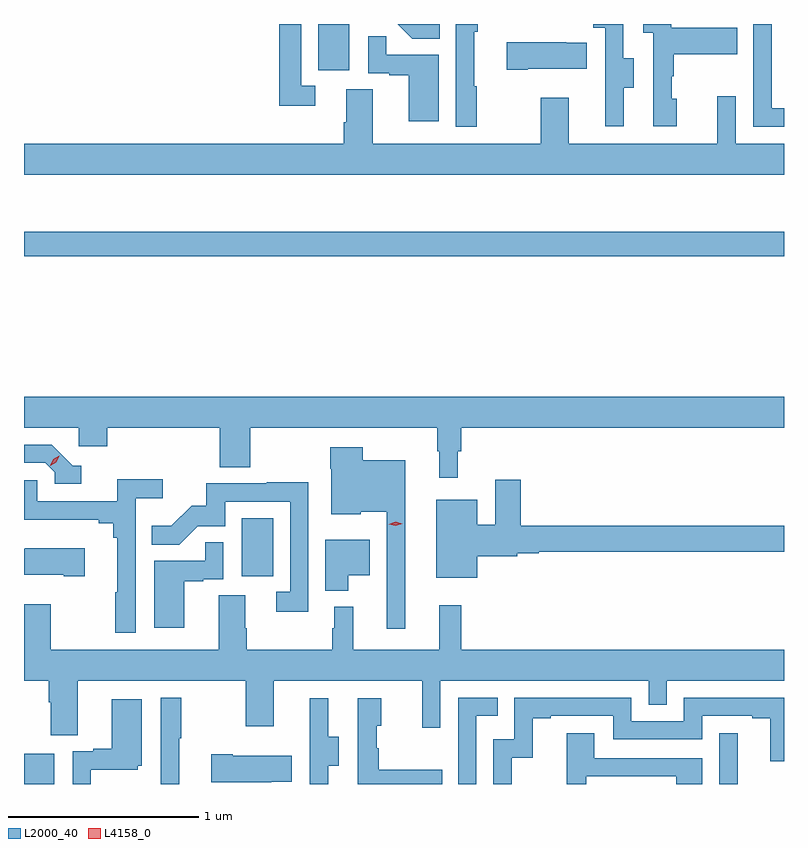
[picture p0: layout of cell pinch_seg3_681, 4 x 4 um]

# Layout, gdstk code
import gdstk
lib = gdstk.Library(unit=1e-6, precision=1e-09)
def R(c, l, rs):  # rectangles x0, y0, x1, y1
    for r in rs: c.add(gdstk.rectangle(r[:2], r[2:], *l))
def P(c, l, *ps):  # polygons
    for p in ps: c.add(gdstk.Polygon(p, *l))
L2000_40 = (2000, 40)
L4158_0 = (4158, 0)

pinch_seg3_681 = lib.new_cell('pinch_seg3_681')
R(pinch_seg3_681, L2000_40, [(1126.807,683.057,1126.966,683.215), (1130.466,683.057,1130.563,683.323), (1127.954,684.15,1128.118,684.457), (1126.807,685.834,1130.807,685.963), (1128.356,686.814,1128.52,687.057)])
P(pinch_seg3_681, L2000_40, [(1130.807,686.613),(1130.742,686.613),(1130.742,687.057),(1130.646,687.057),(1130.646,686.517),(1130.807,686.517)],
  [(1129.963,686.722),(1130.017,686.722),(1130.017,686.877),(1129.962,686.877),(1129.962,687.057),(1129.803,687.057),(1129.803,687.037),(1129.866,687.037),(1129.866,686.733),(1129.865,686.733),(1129.865,686.52),(1129.963,686.52)],
  [(1130.242,686.664),(1130.217,686.664),(1130.217,686.783),(1130.227,686.783),(1130.227,686.897),(1130.561,686.897),(1130.561,687.037),(1130.214,687.037),(1130.214,687.057),(1130.067,687.057),(1130.067,687.011),(1130.118,687.011),(1130.118,686.52),(1130.242,686.52)],
  [(1128.34,686.733),(1128.267,686.733),(1128.267,687.057),(1128.151,687.057),(1128.151,686.628),(1128.34,686.628)],
  [(1128.995,687.057),(1128.774,687.057),(1128.851,686.98),(1128.995,686.98)],
  [(1129.189,686.729),(1129.177,686.729),(1129.177,687.017),(1129.196,687.017),(1129.196,687.057),(1129.08,687.057),(1129.08,686.517),(1129.189,686.517)],
  [(1128.991,686.895),(1128.713,686.895),(1128.713,686.993),(1128.618,686.993),(1128.618,686.799),(1128.729,686.799),(1128.729,686.787),(1128.833,686.787),(1128.833,686.544),(1128.991,686.544)],
  [(1129.459,686.822),(1129.769,686.822),(1129.769,686.959),(1129.661,686.959),(1129.661,686.962),(1129.347,686.962),(1129.347,686.815),(1129.459,686.815)],
  [(1130.807,686.428),(1130.553,686.428),(1130.553,686.677),(1130.456,686.677),(1130.456,686.428),(1129.675,686.428),(1129.675,686.668),(1129.528,686.668),(1129.528,686.428),(1128.643,686.428),(1128.643,686.714),(1128.503,686.714),(1128.503,686.54),(1128.491,686.54),(1128.491,686.428),(1126.807,686.428),(1126.807,686.264),(1130.807,686.264)],
  [(1129.091,684.809),(1129.109,684.809),(1129.109,684.932),(1130.807,684.932),(1130.807,685.096),(1126.807,685.096),(1126.807,684.932),(1127.094,684.932),(1127.094,684.834),(1127.246,684.834),(1127.246,684.932),(1127.837,684.932),(1127.837,684.724),(1127.997,684.724),(1127.997,684.932),(1128.981,684.932),(1128.981,684.809),(1128.992,684.809),(1128.992,684.669),(1129.091,684.669)],
  [(1127.107,684.732),(1127.064,684.732),(1126.953,684.843),(1126.807,684.843),(1126.807,684.747),(1126.92,684.747),(1126.968,684.699),(1126.968,684.636),(1127.107,684.636)],
  [(1128.814,684.76),(1128.591,684.76),(1128.591,684.829),(1128.418,684.829),(1128.418,684.716),(1128.425,684.716),(1128.425,684.476),(1128.579,684.476),(1128.579,684.491),(1128.717,684.491),(1128.717,683.874),(1128.814,683.874)],
  [(1127.394,684.56),(1127.536,684.56),(1127.536,684.662),(1127.297,684.662),(1127.297,684.546),(1126.878,684.546),(1126.878,684.657),(1126.807,684.657),(1126.807,684.449),(1127.201,684.449),(1127.201,684.43),(1127.278,684.43),(1127.278,684.353),(1127.297,684.353),(1127.297,684.065),(1127.286,684.065),(1127.286,683.853),(1127.394,683.853)],
  [(1129.192,684.257),(1129.404,684.257),(1129.404,684.272),(1129.515,684.272),(1129.515,684.28),(1130.807,684.28),(1130.807,684.416),(1129.421,684.416),(1129.421,684.658),(1129.286,684.658),(1129.286,684.422),(1129.192,684.422),(1129.192,684.553),(1128.977,684.553),(1128.977,684.143),(1129.192,684.143)],
  [(1128.303,684.644),(1128.085,684.644),(1128.085,684.639),(1127.767,684.639),(1127.767,684.522),(1127.69,684.522),(1127.583,684.415),(1127.479,684.415),(1127.479,684.316),(1127.623,684.316),(1127.721,684.414),(1127.865,684.414),(1127.865,684.543),(1128.207,684.543),(1128.207,684.069),(1128.135,684.069),(1128.135,683.964),(1128.303,683.964)],
  [(1128.514,684.155),(1128.628,684.155),(1128.628,684.343),(1128.392,684.343),(1128.392,684.074),(1128.514,684.074)],
  [(1127.65,684.123),(1127.75,684.123),(1127.75,684.135),(1127.856,684.135),(1127.856,684.329),(1127.761,684.329),(1127.761,684.231),(1127.492,684.231),(1127.492,683.88),(1127.65,683.88)],
  [(1127.128,684.298),(1126.813,684.298),(1126.813,684.295),(1126.807,684.295),(1126.807,684.158),(1127.015,684.158),(1127.015,684.151),(1127.128,684.151)],
  [(1127.089,683.6),(1127.974,683.6),(1127.974,683.361),(1128.121,683.361),(1128.121,683.6),(1128.902,683.6),(1128.902,683.352),(1128.999,683.352),(1128.999,683.6),(1130.094,683.6),(1130.094,683.473),(1130.19,683.473),(1130.19,683.6),(1130.807,683.6),(1130.807,683.764),(1129.109,683.764),(1129.109,683.998),(1128.992,683.998),(1128.992,683.764),(1128.539,683.764),(1128.539,683.989),(1128.44,683.989),(1128.44,683.876),(1128.429,683.876),(1128.429,683.764),(1127.979,683.764),(1127.979,683.876),(1127.971,683.876),(1127.971,684.05),(1127.831,684.05),(1127.831,683.764),(1126.947,683.764),(1126.947,684.004),(1126.807,684.004),(1126.807,683.6),(1126.937,683.6),(1126.937,683.488),(1126.949,683.488),(1126.949,683.314),(1127.089,683.314)],
  [(1127.623,683.299),(1127.635,683.299),(1127.635,683.512),(1127.526,683.512),(1127.526,683.057),(1127.623,683.057)],
  [(1129.188,683.415),(1129.301,683.415),(1129.301,683.511),(1129.092,683.511),(1129.092,683.057),(1129.188,683.057)],
  [(1129.374,683.195),(1129.484,683.195),(1129.484,683.403),(1129.579,683.403),(1129.579,683.415),(1129.908,683.415),(1129.908,683.292),(1130.376,683.292),(1130.376,683.415),(1130.639,683.415),(1130.639,683.403),(1130.735,683.403),(1130.735,683.177),(1130.807,683.177),(1130.807,683.511),(1130.28,683.511),(1130.28,683.388),(1130.004,683.388),(1130.004,683.511),(1129.386,683.511),(1129.386,683.292),(1129.278,683.292),(1129.278,683.057),(1129.374,683.057)],
  [(1129.007,683.131),(1128.673,683.131),(1128.673,683.246),(1128.663,683.246),(1128.663,683.364),(1128.688,683.364),(1128.688,683.509),(1128.564,683.509),(1128.564,683.057),(1129.007,683.057)],
  [(1128.408,683.152),(1128.463,683.152),(1128.463,683.307),(1128.409,683.307),(1128.409,683.509),(1128.311,683.509),(1128.311,683.295),(1128.312,683.295),(1128.312,683.057),(1128.408,683.057)],
  [(1127.159,683.133),(1127.406,683.133),(1127.406,683.154),(1127.428,683.154),(1127.428,683.503),(1127.27,683.503),(1127.27,683.242),(1127.171,683.242),(1127.171,683.229),(1127.064,683.229),(1127.064,683.057),(1127.159,683.057)],
  [(1129.765,683.097),(1130.239,683.097),(1130.239,683.057),(1130.376,683.057),(1130.376,683.193),(1129.807,683.193),(1129.807,683.323),(1129.663,683.323),(1129.663,683.057),(1129.765,683.057)],
  [(1128.107,683.069),(1128.215,683.069),(1128.215,683.206),(1127.905,683.206),(1127.905,683.214),(1127.793,683.214),(1127.793,683.066),(1128.107,683.066)])
P(pinch_seg3_681, L4158_0, [(1126.945,684.732),(1126.945,684.732),(1126.962,684.765),(1126.993,684.784),(1126.993,684.784),(1126.993,684.783),(1126.976,684.751),(1126.945,684.732)],
  [(1128.764,684.416),(1128.728,684.425),(1128.728,684.425),(1128.728,684.425),(1128.763,684.436),(1128.799,684.428),(1128.799,684.428),(1128.799,684.428)])

lib.write_gds('pinch_seg3_681.gds')
